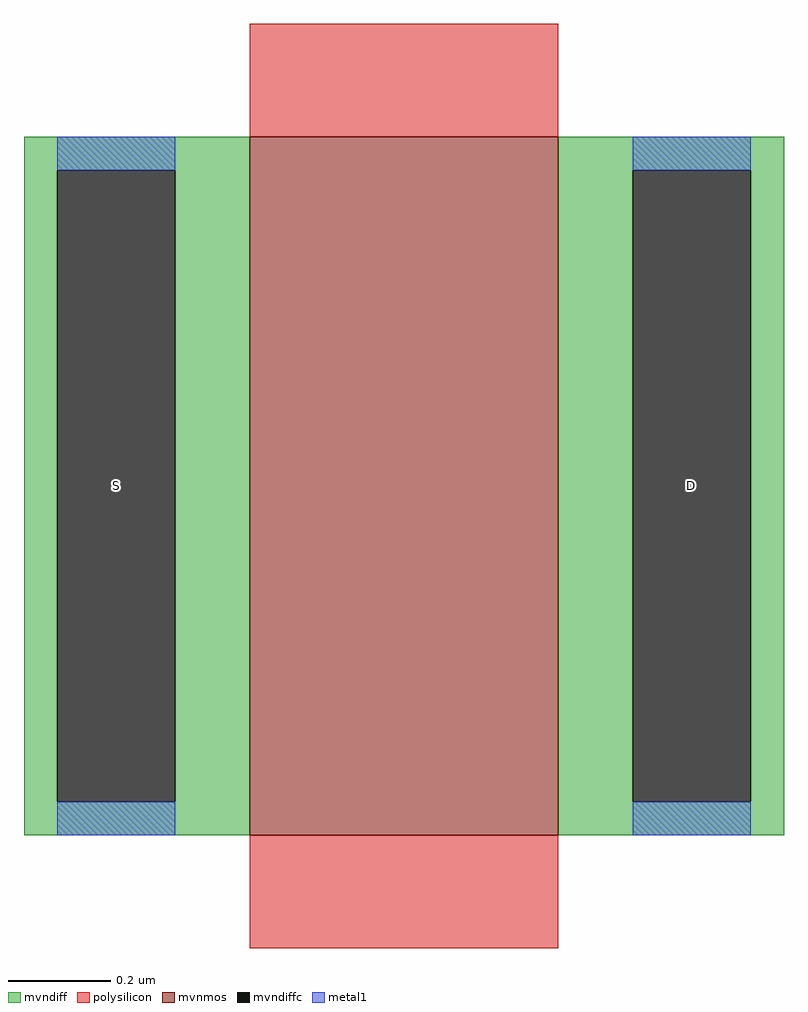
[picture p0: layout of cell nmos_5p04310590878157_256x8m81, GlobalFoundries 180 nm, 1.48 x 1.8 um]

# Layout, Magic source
magic
tech gf180mcuC
magscale 1 10
<< mvnmos >>
rect 0 0 120 272
<< mvndiff >>
rect -88 259 0 272
rect -88 13 -75 259
rect -29 13 0 259
rect -88 0 0 13
rect 120 259 208 272
rect 120 13 149 259
rect 195 13 208 259
rect 120 0 208 13
<< mvndiffc >>
rect -75 13 -29 259
rect 149 13 195 259
<< polysilicon >>
rect 0 272 120 316
rect 0 -44 120 0
<< metal1 >>
rect -75 259 -29 272
rect -75 0 -29 13
rect 149 259 195 272
rect 149 0 195 13
<< labels >>
flabel metal1 s -52 136 -52 136 0 FreeSans 200 0 0 0 S
flabel metal1 s 172 136 172 136 0 FreeSans 200 0 0 0 D
<< properties >>
string GDS_END 210884
string GDS_FILE $PDKPATH/libs.ref/gf180mcu_fd_ip_sram/gds/gf180mcu_fd_ip_sram__sram256x8m8wm1.gds
string GDS_START 209604
<< end >>
